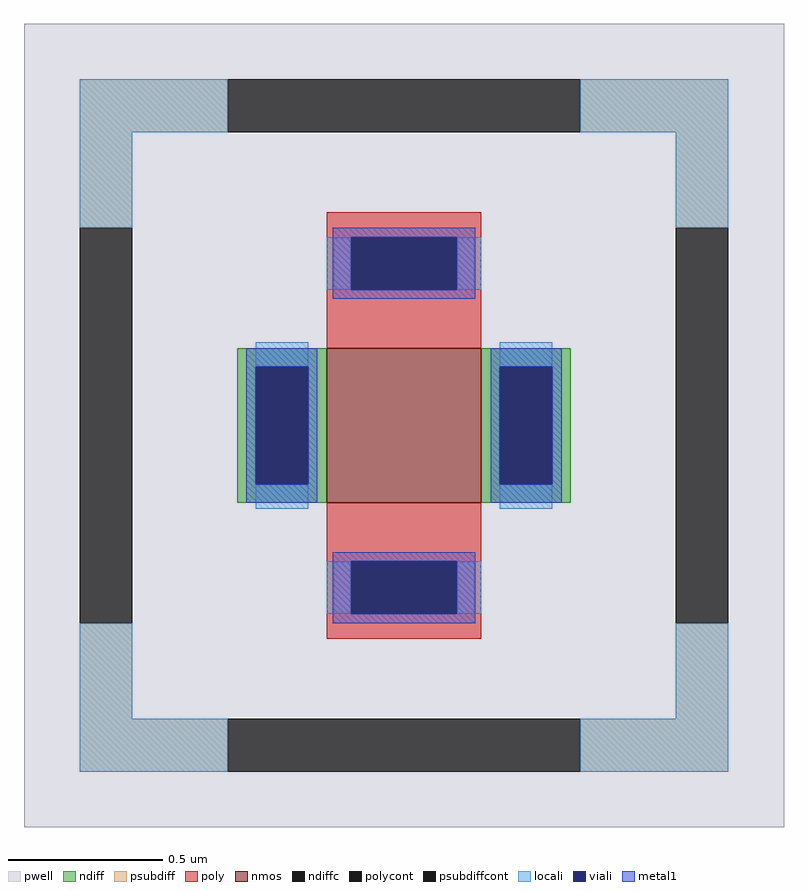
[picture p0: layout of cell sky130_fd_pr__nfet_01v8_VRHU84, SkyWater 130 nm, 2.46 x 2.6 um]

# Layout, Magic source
magic
tech sky130A
<< pwell >>
rect -123 -130 123 130
<< nmos >>
rect -25 -25 25 25
<< ndiff >>
rect -54 19 -25 25
rect -54 -19 -48 19
rect -31 -19 -25 19
rect -54 -25 -25 -19
rect 25 19 54 25
rect 25 -19 31 19
rect 48 -19 54 19
rect 25 -25 54 -19
<< ndiffc >>
rect -48 -19 -31 19
rect 31 -19 48 19
<< psubdiff >>
rect -105 95 -57 112
rect 57 95 105 112
rect -105 64 -88 95
rect 88 64 105 95
rect -105 -95 -88 -64
rect 88 -95 105 -64
rect -105 -112 -57 -95
rect 57 -112 105 -95
<< psubdiffcont >>
rect -57 95 57 112
rect -105 -64 -88 64
rect 88 -64 105 64
rect -57 -112 57 -95
<< poly >>
rect -25 61 25 69
rect -25 44 -17 61
rect 17 44 25 61
rect -25 25 25 44
rect -25 -44 25 -25
rect -25 -61 -17 -44
rect 17 -61 25 -44
rect -25 -69 25 -61
<< polycont >>
rect -17 44 17 61
rect -17 -61 17 -44
<< locali >>
rect -105 95 -57 112
rect 57 95 105 112
rect -105 64 -88 95
rect 88 64 105 95
rect -25 44 -17 61
rect 17 44 25 61
rect -48 19 -31 27
rect -48 -27 -31 -19
rect 31 19 48 27
rect 31 -27 48 -19
rect -25 -61 -17 -44
rect 17 -61 25 -44
rect -105 -95 -88 -64
rect 88 -95 105 -64
rect -105 -112 -57 -95
rect 57 -112 105 -95
<< viali >>
rect -17 44 17 61
rect -48 -19 -31 19
rect 31 -19 48 19
rect -17 -61 17 -44
<< metal1 >>
rect -23 61 23 64
rect -23 44 -17 61
rect 17 44 23 61
rect -23 41 23 44
rect -51 19 -28 25
rect -51 -19 -48 19
rect -31 -19 -28 19
rect -51 -25 -28 -19
rect 28 19 51 25
rect 28 -19 31 19
rect 48 -19 51 19
rect 28 -25 51 -19
rect -23 -44 23 -41
rect -23 -61 -17 -44
rect 17 -61 23 -44
rect -23 -64 23 -61
<< properties >>
string FIXED_BBOX -96 -103 96 103
string gencell sky130_fd_pr__nfet_01v8
string library sky130
string parameters w 0.5 l 0.5 m 1 nf 1 diffcov 100 polycov 100 guard 1 glc 1 grc 1 gtc 1 gbc 1 tbcov 100 rlcov 100 topc 1 botc 1 poverlap 0 doverlap 1 lmin 0.15 wmin 0.42 class mosfet compatible {sky130_fd_pr__nfet_01v8 sky130_fd_pr__nfet_01v8_lvt  sky130_fd_bs_flash__special_sonosfet_star  sky130_fd_pr__nfet_g5v0d10v5 sky130_fd_pr__nfet_05v0_nvt  sky130_fd_pr__nfet_03v3_nvt} full_metal 1 viasrc 100 viadrn 100 viagate 100 viagb 0 viagr 0 viagl 0 viagt 0
<< end >>
